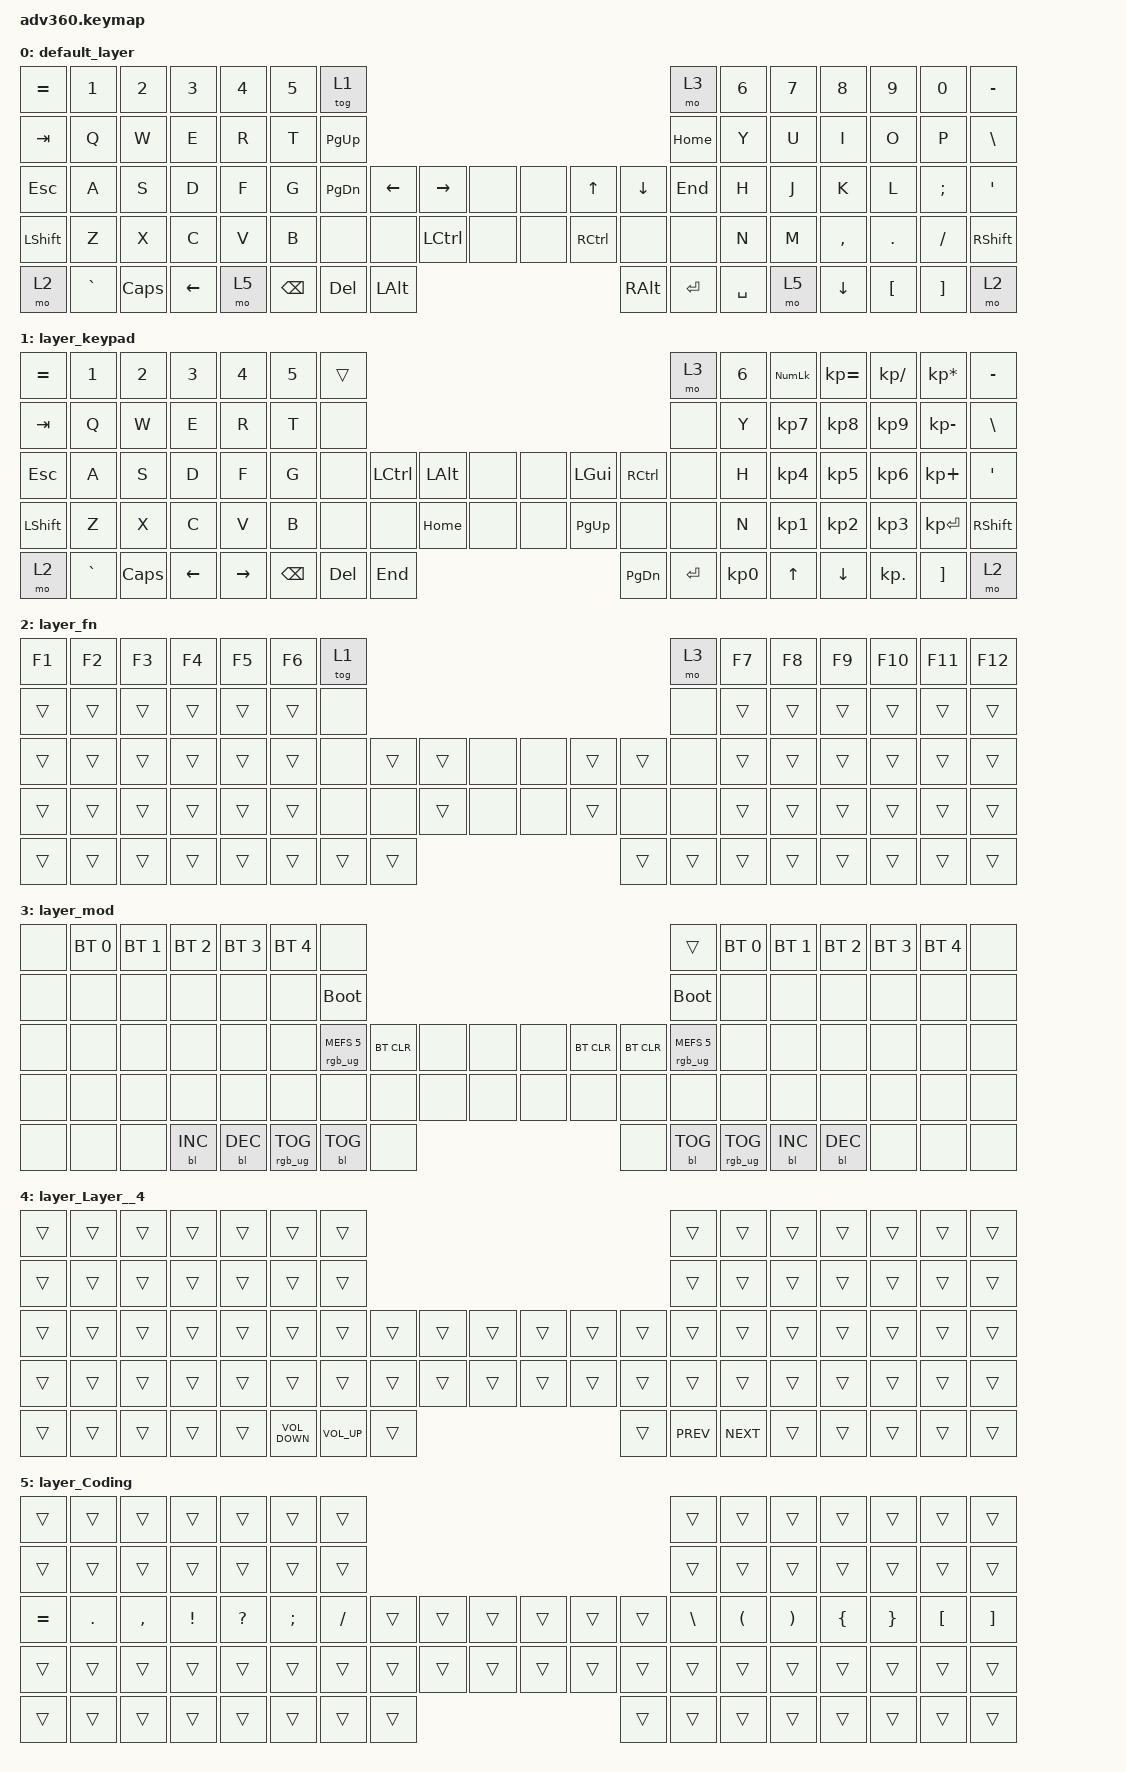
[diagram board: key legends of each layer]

/*
 * Copyright (c) 2020 The ZMK Contributors
 *
 * SPDX-License-Identifier: MIT
 */


/* THIS FILE WAS GENERATED!
 *
 * This file was generated automatically. You may or may not want to
 * edit it directly.
 */

#include <behaviors.dtsi>
#include <dt-bindings/zmk/keys.h>
#include <dt-bindings/zmk/bt.h>
#include <dt-bindings/zmk/rgb.h>
#include <dt-bindings/zmk/backlight.h>

/ {
  behaviors {
    #include "macros.dtsi"

    hm: homerow_mods {
        compatible = "zmk,behavior-hold-tap";
        label = "HOMEROW_MODS";
        #binding-cells = <2>;
        tapping-term-ms = <200>;
        quick_tap_ms = <175>;
        flavor = "tap-preferred";
        bindings = <&kp>, <&kp>;
    };
  };

    keymap {
        compatible = "zmk,keymap";


        default_layer {
            bindings = <
 &kp EQUAL     &kp N1    &kp N2    &kp N3  &kp N4  &kp N5               &tog 1                                                                                     &mo 3  &kp N6  &kp N7     &kp N8    &kp N9    &kp N0  &kp MINUS
   &kp TAB      &kp Q     &kp W     &kp E   &kp R   &kp T            &kp PG_UP                                                                                  &kp HOME   &kp Y   &kp U      &kp I     &kp O     &kp P   &kp BSLH
   &kp ESC      &kp A     &kp S     &kp D   &kp F   &kp G            &kp PG_DN  &kp LEFT_ARROW  &kp RIGHT_ARROW   &none   &none  &kp UP_ARROW  &kp DOWN_ARROW    &kp END   &kp H   &kp J      &kp K     &kp L  &kp SEMI    &kp SQT
 &kp LSHFT      &kp Z     &kp X     &kp C   &kp V   &kp B                &none           &none        &kp LCTRL   &none   &none     &kp RCTRL           &none      &none   &kp N   &kp M  &kp COMMA   &kp DOT  &kp FSLH  &kp RSHFT
     &mo 2  &kp GRAVE  &kp CAPS  &kp LEFT   &mo 5                     &kp BSPC         &kp DEL         &kp LALT                      &kp RALT       &kp ENTER  &kp SPACE           &mo 5   &kp DOWN  &kp LBKT  &kp RBKT      &mo 2
            >;
        };

        layer_keypad {
            bindings = <
 &kp EQUAL     &kp N1    &kp N2    &kp N3     &kp N4  &kp N5              &trans                                                                 &mo 3  &kp N6  &kp KP_NUM  &kp KP_EQUAL  &kp KP_DIVIDE  &kp KP_MULTIPLY  &kp MINUS
   &kp TAB      &kp Q     &kp W     &kp E      &kp R   &kp T               &none                                                                 &none   &kp Y   &kp KP_N7     &kp KP_N8      &kp KP_N9     &kp KP_MINUS   &kp BSLH
   &kp ESC      &kp A     &kp S     &kp D      &kp F   &kp G               &none  &kp LCTRL  &kp LALT   &none   &none   &kp LGUI  &kp RCTRL      &none   &kp H   &kp KP_N4     &kp KP_N5      &kp KP_N6      &kp KP_PLUS    &kp SQT
 &kp LSHFT      &kp Z     &kp X     &kp C      &kp V   &kp B               &none      &none  &kp HOME   &none   &none  &kp PG_UP      &none      &none   &kp N   &kp KP_N1     &kp KP_N2      &kp KP_N3     &kp KP_ENTER  &kp RSHFT
     &mo 2  &kp GRAVE  &kp CAPS  &kp LEFT  &kp RIGHT                    &kp BSPC    &kp DEL   &kp END                  &kp PG_DN  &kp ENTER  &kp KP_N0              &kp UP      &kp DOWN     &kp KP_DOT         &kp RBKT      &mo 2
            >;
        };

        layer_fn {
            bindings = <
 &kp F1  &kp F2  &kp F3  &kp F4  &kp F5  &kp F6            &tog 1                                                   &mo 3  &kp F7  &kp F8  &kp F9  &kp F10  &kp F11  &kp F12
 &trans  &trans  &trans  &trans  &trans  &trans             &none                                                   &none  &trans  &trans  &trans   &trans   &trans   &trans
 &trans  &trans  &trans  &trans  &trans  &trans             &none  &trans  &trans   &none   &none  &trans  &trans   &none  &trans  &trans  &trans   &trans   &trans   &trans
 &trans  &trans  &trans  &trans  &trans  &trans             &none   &none  &trans   &none   &none  &trans   &none   &none  &trans  &trans  &trans   &trans   &trans   &trans
 &trans  &trans  &trans  &trans  &trans                    &trans  &trans  &trans                  &trans  &trans  &trans          &trans  &trans   &trans   &trans   &trans
            >;
        };

        layer_mod {
            bindings = <
  &none  &bt BT_SEL 0  &bt BT_SEL 1  &bt BT_SEL 2  &bt BT_SEL 3  &bt BT_SEL 4                             &none                                                                              &trans  &bt BT_SEL 0  &bt BT_SEL 1  &bt BT_SEL 2  &bt BT_SEL 3  &bt BT_SEL 4   &none
  &none         &none         &none         &none         &none         &none                       &bootloader                                                                         &bootloader         &none         &none         &none         &none         &none   &none
  &none         &none         &none         &none         &none         &none            &rgb_ug RGB_MEFS_CMD 5  &bt BT_CLR   &none   &none   &none  &bt BT_CLR  &bt BT_CLR  &rgb_ug RGB_MEFS_CMD 5         &none         &none         &none         &none         &none   &none
  &none         &none         &none         &none         &none         &none                             &none       &none   &none   &none   &none       &none       &none                   &none         &none         &none         &none         &none         &none   &none
  &none         &none         &none    &bl BL_INC    &bl BL_DEC                                 &rgb_ug RGB_TOG  &bl BL_TOG   &none                       &none  &bl BL_TOG         &rgb_ug RGB_TOG                  &bl BL_INC    &bl BL_DEC         &none         &none   &none
            >;
        };

        layer_Layer__4 {
            bindings = <
 &trans  &trans  &trans  &trans  &trans  &trans                       &trans                                                                   &trans  &trans  &trans  &trans  &trans  &trans  &trans
 &trans  &trans  &trans  &trans  &trans  &trans                       &trans                                                                   &trans  &trans  &trans  &trans  &trans  &trans  &trans
 &trans  &trans  &trans  &trans  &trans  &trans                       &trans           &trans  &trans  &trans  &trans  &trans      &trans      &trans  &trans  &trans  &trans  &trans  &trans  &trans
 &trans  &trans  &trans  &trans  &trans  &trans                       &trans           &trans  &trans  &trans  &trans  &trans      &trans      &trans  &trans  &trans  &trans  &trans  &trans  &trans
 &trans  &trans  &trans  &trans  &trans                    &kp K_VOLUME_DOWN  &kp K_VOLUME_UP  &trans                  &trans  &kp K_PREV  &kp C_NEXT          &trans  &trans  &trans  &trans  &trans
            >;
        };

        layer_Coding {
            bindings = <
    &trans      &trans     &trans           &trans        &trans         &trans               &trans                                                         &trans                &trans                 &trans          &trans           &trans            &trans             &trans
    &trans      &trans     &trans           &trans        &trans         &trans               &trans                                                         &trans                &trans                 &trans          &trans           &trans            &trans             &trans
 &kp EQUAL  &kp PERIOD  &kp COMMA  &kp EXCLAMATION  &kp QUESTION  &kp SEMICOLON            &kp SLASH  &trans  &trans  &trans  &trans  &trans  &trans  &kp BACKSLASH  &kp LEFT_PARENTHESIS  &kp RIGHT_PARENTHESIS  &kp LEFT_BRACE  &kp RIGHT_BRACE  &kp LEFT_BRACKET  &kp RIGHT_BRACKET
    &trans      &trans     &trans           &trans        &trans         &trans               &trans  &trans  &trans  &trans  &trans  &trans  &trans         &trans                &trans                 &trans          &trans           &trans            &trans             &trans
    &trans      &trans     &trans           &trans        &trans                              &trans  &trans  &trans                  &trans  &trans         &trans                                       &trans          &trans           &trans            &trans             &trans
            >;
        };

    };
};
